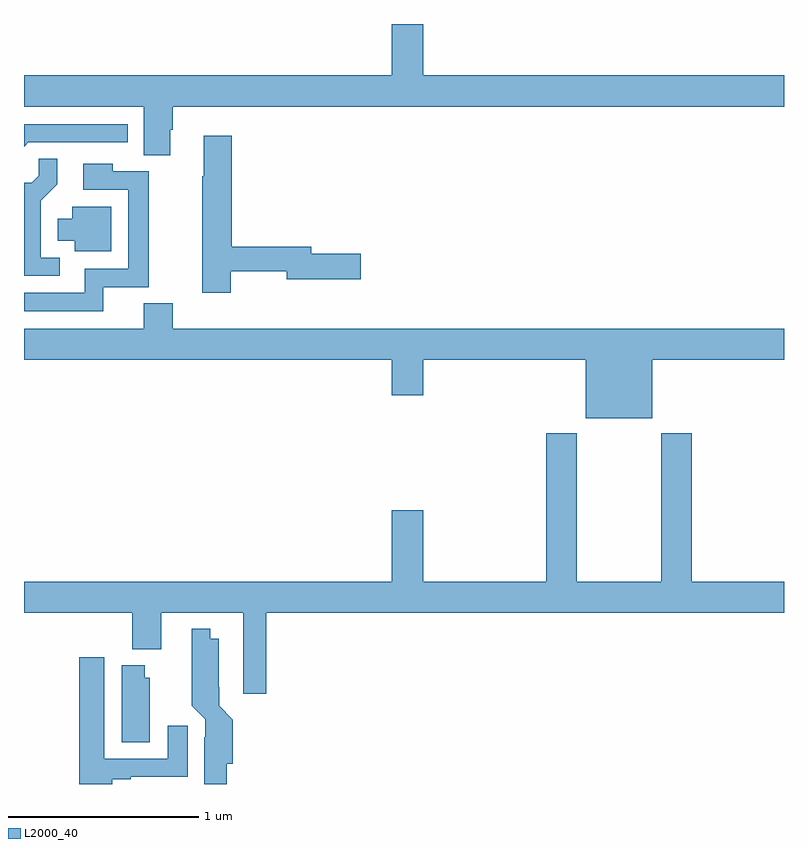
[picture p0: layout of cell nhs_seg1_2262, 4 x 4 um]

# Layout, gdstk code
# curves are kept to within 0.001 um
import gdstk
lib = gdstk.Library(unit=1e-6, precision=1e-09)
def P(c, l, *ps):  # polygons
    for p in ps: c.add(gdstk.Polygon(p, *l))
L2000_40 = (2000, 40)

nhs_seg1_2262 = lib.new_cell('nhs_seg1_2262')
P(nhs_seg1_2262, L2000_40, [(235.771,519.642),(235.784,519.642),(235.784,519.764),(239,519.764),(239,519.928),(237.1,519.928),(237.1,520.199),(236.936,520.199),(236.936,519.928),(235,519.928),(235,519.764),(235.631,519.764),(235.631,519.508),(235.771,519.508)],
  [(235.023,519.576),(235.546,519.576),(235.546,519.672),(235,519.672),(235,519.553)],
  [(236.088,518.898),(236.384,518.898),(236.384,518.855),(236.773,518.855),(236.773,518.99),(236.512,518.99),(236.512,519.026),(236.093,519.026),(236.093,519.61),(235.946,519.61),(235.946,519.397),(235.939,519.397),(235.939,518.784),(236.088,518.784)],
  [(235.189,518.97),(235.089,518.97),(235.089,519.269),(235.175,519.355),(235.175,519.491),(235.077,519.491),(235.077,519.4),(235.04,519.363),(235,519.363),(235,518.874),(235.189,518.874)],
  [(235.418,518.814),(235.657,518.814),(235.657,519.423),(235.467,519.423),(235.467,519.463),(235.311,519.463),(235.311,519.327),(235.548,519.327),(235.548,518.91),(235.319,518.91),(235.319,518.784),(235,518.784),(235,518.688),(235.418,518.688)],
  [(235.459,519.238),(235.253,519.238),(235.253,519.175),(235.178,519.175),(235.178,519.059),(235.268,519.059),(235.268,519.002),(235.459,519.002)],
  [(238.306,518.432),(239,518.432),(239,518.596),(235.784,518.596),(235.784,518.729),(235.631,518.729),(235.631,518.596),(235,518.596),(235,518.432),(236.936,518.432),(236.936,518.244),(237.1,518.244),(237.1,518.432),(237.956,518.432),(237.956,518.123),(238.306,518.123)],
  [(236.276,517.1),(239,517.1),(239,517.264),(238.514,517.264),(238.514,518.044),(238.354,518.044),(238.354,517.264),(237.909,517.264),(237.909,518.044),(237.749,518.044),(237.749,517.264),(237.1,517.264),(237.1,517.639),(236.936,517.639),(236.936,517.264),(235,517.264),(235,517.1),(235.571,517.1),(235.571,516.908),(235.723,516.908),(235.723,517.1),(236.153,517.1),(236.153,516.675),(236.276,516.675)],
  [(236.068,516.306),(236.099,516.306),(236.099,516.538),(236.027,516.61),(236.026,516.964),(235.981,516.964),(235.981,517.015),(235.884,517.015),(235.883,516.61),(235.953,516.54),(235.953,516.446),(235.949,516.446),(235.949,516.199),(236.068,516.199)],
  [(235.465,516.225),(235.561,516.225),(235.561,516.237),(235.861,516.237),(235.861,516.505),(235.757,516.505),(235.757,516.333),(235.423,516.333),(235.423,516.865),(235.292,516.865),(235.292,516.199),(235.465,516.199)],
  [(235.663,516.759),(235.636,516.759),(235.636,516.823),(235.514,516.823),(235.514,516.418),(235.663,516.418)])

lib.write_gds('nhs_seg1_2262.gds')
